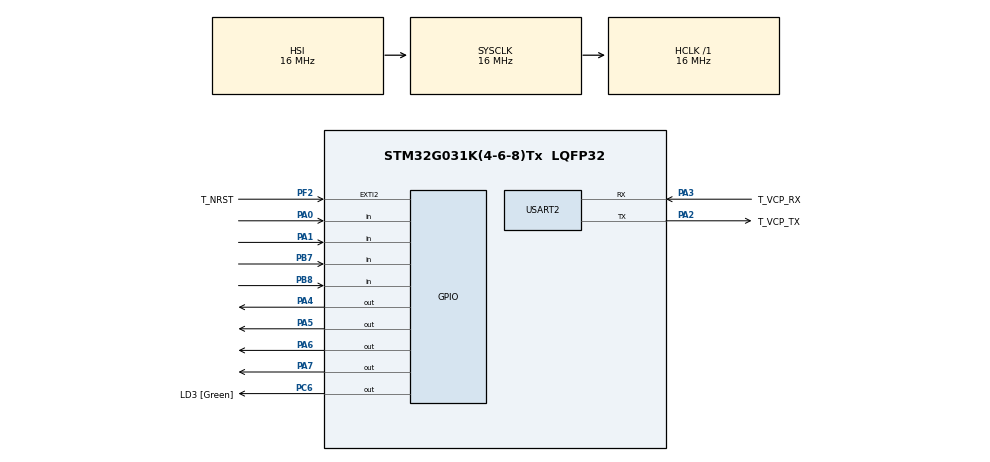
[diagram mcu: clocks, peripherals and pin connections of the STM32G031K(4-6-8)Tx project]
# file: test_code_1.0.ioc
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Mcu.Family=STM32G0
Mcu.Name=STM32G031K(4-6-8)Tx
Mcu.Package=LQFP32
PA0.Signal=GPIO_Input
PA1.Signal=GPIO_Input
PA13.GPIO_Label=T_JTMS
PA13.Signal=SYS_SWDIO
PA2.GPIO_Label=T_VCP_TX
PA2.GPIO_PuPd=GPIO_PULLUP
PA2.Mode=Asynchronous
PA2.Signal=USART2_TX
PA3.GPIO_Label=T_VCP_RX
PA3.GPIO_PuPd=GPIO_PULLUP
PA3.Mode=Asynchronous
PA3.Signal=USART2_RX
PA4.Signal=GPIO_Output
PA5.Signal=GPIO_Output
PA6.Signal=GPIO_Output
PA7.Signal=GPIO_Output
PB7.Signal=GPIO_Input
PB8.Signal=GPIO_Input
PC14-OSC32_IN\ (PC14).Mode=LSE-External-Oscillator
PC14-OSC32_IN\ (PC14).Signal=RCC_OSC32_IN
PC15-OSC32_OUT\ (PC15).Mode=LSE-External-Oscillator
PC15-OSC32_OUT\ (PC15).Signal=RCC_OSC32_OUT
PC6.GPIO_Label=LD3 [Green]
PC6.Signal=GPIO_Output
PF2\ -\ NRST.GPIO_Label=T_NRST
PF2\ -\ NRST.Signal=GPXTI2
ProjectManager.HeapSize=0x200
ProjectManager.StackSize=0x400
ProjectManager.TargetToolchain=STM32CubeIDE
RCC.AHBFreq_Value=16000000
RCC.CortexFreq_Value=16000000
RCC.EXTERNAL_CLOCK_VALUE=12288000
RCC.HCLKFreq_Value=16000000
RCC.HSE_VALUE=8000000
RCC.HSI_VALUE=16000000
RCC.SYSCLKFreq_VALUE=16000000
RCC.VCOOutputFreq_Value=128000000
USART2.VirtualMode-Asynchronous=VM_ASYNC
USART2.WordLength=WORDLENGTH_7B
board=NUCLEO-G031K8

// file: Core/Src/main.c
/* USER CODE BEGIN Header */
/**
  ******************************************************************************
  * @file           : main.c
  * @brief          : Main program body
  ******************************************************************************
  * @attention
  *
  * Copyright (c) 2026 STMicroelectronics.
  * All rights reserved.
  *
  * This software is licensed under terms that can be found in the LICENSE file
  * in the root directory of this software component.
  * If no LICENSE file comes with this software, it is provided AS-IS.
  *
  ******************************************************************************
  */
/* USER CODE END Header */
#include "main.h"

/* USER CODE BEGIN Includes */
uint32_t measureCap(GPIO_TypeDef* port, uint16_t pin) {
    GPIO_InitTypeDef GPIO_InitStruct = {0};

    // 1) Discharge: output low
    GPIO_InitStruct.Pin = pin;
    GPIO_InitStruct.Mode = GPIO_MODE_OUTPUT_PP;
    GPIO_InitStruct.Pull = GPIO_NOPULL;
    GPIO_InitStruct.Speed = GPIO_SPEED_FREQ_LOW;
    HAL_GPIO_Init(port, &GPIO_InitStruct);

    HAL_GPIO_WritePin(port, pin, GPIO_PIN_RESET);
    HAL_Delay(1);

    // 2) Switch to input with pull-up
    GPIO_InitStruct.Mode = GPIO_MODE_INPUT;
    GPIO_InitStruct.Pull = GPIO_PULLUP;
    HAL_GPIO_Init(port, &GPIO_InitStruct);

    // 3) Measure time until pin reads high
    __HAL_TIM_SET_COUNTER(&htim2, 0);
    HAL_TIM_Base_Start(&htim2);

    uint32_t start = __HAL_TIM_GET_COUNTER(&htim2);
    uint32_t timeout = 3000; // 3 ms

    while (HAL_GPIO_ReadPin(port, pin) == GPIO_PIN_RESET) {
        uint32_t now = __HAL_TIM_GET_COUNTER(&htim2);
        if ((now - start) > timeout) {
            HAL_TIM_Base_Stop(&htim2);
            return timeout;
        }
    }

    uint32_t duration = __HAL_TIM_GET_COUNTER(&htim2) - start;
    HAL_TIM_Base_Stop(&htim2);
    return duration;
}
/* USER CODE END Includes */

UART_HandleTypeDef huart2;

void SystemClock_Config(void);
static void MX_GPIO_Init(void);
static void MX_USART2_UART_Init(void);

int main(void)
{

  /* MCU Configuration--------------------------------------------------------*/

  /* Reset of all peripherals, Initializes the Flash interface and the Systick. */
  HAL_Init();

  /* Configure the system clock */
  SystemClock_Config();

  /* Initialize all configured peripherals */
  MX_GPIO_Init();
  MX_USART2_UART_Init();

  /* Infinite loop */
  while (1)
  {

	      uint32_t upVal    = measureCap(GPIOA, GPIO_PIN_0);
	      uint32_t downVal  = measureCap(GPIOA, GPIO_PIN_1);
	      uint32_t leftVal  = measureCap(GPIOA, GPIO_PIN_2);
	      uint32_t rightVal = measureCap(GPIOA, GPIO_PIN_3);

	      char buf[128];
	      int len = snprintf(buf, sizeof(buf),
	                         "UP:%lu DOWN:%lu LEFT:%lu RIGHT:%lu\r\n",
	                         upVal, downVal, leftVal, rightVal);

	      HAL_UART_Transmit(&huart2, (uint8_t*)buf, len, HAL_MAX_DELAY);

	      HAL_Delay(50);

  }
}

void SystemClock_Config(void)
{
  RCC_OscInitTypeDef RCC_OscInitStruct = {0};
  RCC_ClkInitTypeDef RCC_ClkInitStruct = {0};

  /** Configure the main internal regulator output voltage
  */
  HAL_PWREx_ControlVoltageScaling(PWR_REGULATOR_VOLTAGE_SCALE1);

  /** Initializes the RCC Oscillators according to the specified parameters
  * in the RCC_OscInitTypeDef structure.
  */
  RCC_OscInitStruct.OscillatorType = RCC_OSCILLATORTYPE_HSI;
  RCC_OscInitStruct.HSIState = RCC_HSI_ON;
  RCC_OscInitStruct.HSIDiv = RCC_HSI_DIV1;
  RCC_OscInitStruct.HSICalibrationValue = RCC_HSICALIBRATION_DEFAULT;
  RCC_OscInitStruct.PLL.PLLState = RCC_PLL_NONE;
  if (HAL_RCC_OscConfig(&RCC_OscInitStruct) != HAL_OK)
  {
    Error_Handler();
  }

  /** Initializes the CPU, AHB and APB buses clocks
  */
  RCC_ClkInitStruct.ClockType = RCC_CLOCKTYPE_HCLK|RCC_CLOCKTYPE_SYSCLK
                              |RCC_CLOCKTYPE_PCLK1;
  RCC_ClkInitStruct.SYSCLKSource = RCC_SYSCLKSOURCE_HSI;
  RCC_ClkInitStruct.AHBCLKDivider = RCC_SYSCLK_DIV1;
  RCC_ClkInitStruct.APB1CLKDivider = RCC_HCLK_DIV1;

  if (HAL_RCC_ClockConfig(&RCC_ClkInitStruct, FLASH_LATENCY_0) != HAL_OK)
  {
    Error_Handler();
  }
}

static void MX_USART2_UART_Init(void)
{

  huart2.Instance = USART2;
  huart2.Init.BaudRate = 115200;
  huart2.Init.WordLength = UART_WORDLENGTH_7B;
  huart2.Init.StopBits = UART_STOPBITS_1;
  huart2.Init.Parity = UART_PARITY_NONE;
  huart2.Init.Mode = UART_MODE_TX_RX;
  huart2.Init.HwFlowCtl = UART_HWCONTROL_NONE;
  huart2.Init.OverSampling = UART_OVERSAMPLING_16;
  huart2.Init.OneBitSampling = UART_ONE_BIT_SAMPLE_DISABLE;
  huart2.Init.ClockPrescaler = UART_PRESCALER_DIV1;
  huart2.AdvancedInit.AdvFeatureInit = UART_ADVFEATURE_NO_INIT;
  if (HAL_UART_Init(&huart2) != HAL_OK)
  {
    Error_Handler();
  }

}

static void MX_GPIO_Init(void)
{
  GPIO_InitTypeDef GPIO_InitStruct = {0};

  /* GPIO Ports Clock Enable */
  __HAL_RCC_GPIOC_CLK_ENABLE();
  __HAL_RCC_GPIOF_CLK_ENABLE();
  __HAL_RCC_GPIOA_CLK_ENABLE();
  __HAL_RCC_GPIOB_CLK_ENABLE();

  /*Configure GPIO pin Output Level */
  HAL_GPIO_WritePin(GPIOA, GPIO_PIN_4|GPIO_PIN_5|GPIO_PIN_6|GPIO_PIN_7, GPIO_PIN_RESET);

  /*Configure GPIO pin Output Level */
  HAL_GPIO_WritePin(LD3_GPIO_Port, LD3_Pin, GPIO_PIN_RESET);

  /*Configure GPIO pin : T_NRST_Pin */
  GPIO_InitStruct.Pin = T_NRST_Pin;
  GPIO_InitStruct.Mode = GPIO_MODE_IT_RISING;
  GPIO_InitStruct.Pull = GPIO_NOPULL;
  HAL_GPIO_Init(T_NRST_GPIO_Port, &GPIO_InitStruct);

  /*Configure GPIO pins : PA0 PA1 */
  GPIO_InitStruct.Pin = GPIO_PIN_0|GPIO_PIN_1;
  GPIO_InitStruct.Mode = GPIO_MODE_INPUT;
  GPIO_InitStruct.Pull = GPIO_NOPULL;
  HAL_GPIO_Init(GPIOA, &GPIO_InitStruct);

  /*Configure GPIO pins : PA4 PA5 PA6 PA7 */
  GPIO_InitStruct.Pin = GPIO_PIN_4|GPIO_PIN_5|GPIO_PIN_6|GPIO_PIN_7;
  GPIO_InitStruct.Mode = GPIO_MODE_OUTPUT_PP;
  GPIO_InitStruct.Pull = GPIO_NOPULL;
  GPIO_InitStruct.Speed = GPIO_SPEED_FREQ_LOW;
  HAL_GPIO_Init(GPIOA, &GPIO_InitStruct);

  /*Configure GPIO pin : LD3_Pin */
  GPIO_InitStruct.Pin = LD3_Pin;
  GPIO_InitStruct.Mode = GPIO_MODE_OUTPUT_PP;
  GPIO_InitStruct.Pull = GPIO_NOPULL;
  GPIO_InitStruct.Speed = GPIO_SPEED_FREQ_LOW;
  HAL_GPIO_Init(LD3_GPIO_Port, &GPIO_InitStruct);

  /*Configure GPIO pins : PB7 PB8 */
  GPIO_InitStruct.Pin = GPIO_PIN_7|GPIO_PIN_8;
  GPIO_InitStruct.Mode = GPIO_MODE_INPUT;
  GPIO_InitStruct.Pull = GPIO_NOPULL;
  HAL_GPIO_Init(GPIOB, &GPIO_InitStruct);

}

void Error_Handler(void)
{
  __disable_irq();
  while (1)
  {
  }
}
